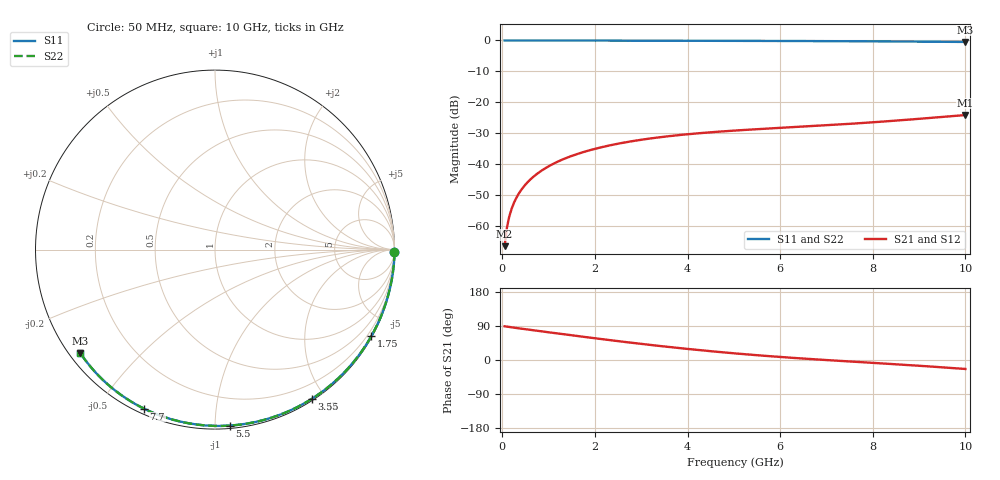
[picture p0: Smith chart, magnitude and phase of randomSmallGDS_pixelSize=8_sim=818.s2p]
! freq	dB(S11)	phase(S11)	dB(S12)	phase(S12)
!  dB(S21)	phase(S21)	dB(S22)	phase(S22)
!S-par simulation data
#  GHz  S  DB  R 50
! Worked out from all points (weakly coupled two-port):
!   200 points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, 50 MHz to 10 GHz, reference 50 ohm
!   highest |S21| = -24.05 dB at 10 GHz (marker M1); lowest = -66.4 dB at 50 MHz (marker M2)
!   lowest |S11| = -0.5 dB at 10 GHz (marker M3), VSWR 36.26, Z = 1.54 - j17 ohm
!   |S11| at or under -10 dB: nowhere
!   |S22| runs from -0.5 to 0.0 dB; largest |S21 - S12| = 0
!   S11 on the Smith chart (normalised r, x): 50 MHz: open; 1.75 GHz: 0.03, -3.88; 3.55 GHz: 0.02, -1.84; 5.5 GHz: 0.02, -1.09; 7.7 GHz: 0.02, -0.65; 10 GHz: 0.03, -0.34
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0.05  -0.00 -0.8  -66.35 89.0  -66.35 89.0  -0.00 -0.8
0.1  -0.00 -1.7  -60.34 88.1  -60.34 88.1  -0.00 -1.7
0.15  -0.00 -2.5  -56.83 87.1  -56.83 87.1  -0.00 -2.5
0.2  -0.00 -3.4  -54.35 86.2  -54.35 86.2  -0.00 -3.4
0.25  -0.00 -4.2  -52.43 85.4  -52.43 85.4  -0.00 -4.2
0.35  -0.00 -5.9  -49.54 83.7  -49.54 83.7  -0.00 -5.9
0.5  -0.01 -8.4  -46.48 81.3  -46.48 81.3  -0.01 -8.4
0.7  -0.01 -11.7  -43.61 78.0  -43.61 78.0  -0.01 -11.7
1  -0.02 -16.7  -40.59 73.2  -40.59 73.2  -0.02 -16.7
1.35  -0.03 -22.4  -38.10 67.6  -38.10 67.6  -0.03 -22.4
1.75  -0.04 -28.9  -36.00 61.2  -36.00 61.2  -0.04 -28.9
2.5  -0.05 -40.9  -33.30 49.8  -33.30 49.8  -0.05 -40.9
3.4  -0.07 -54.8  -31.22 37.0  -31.22 37.0  -0.07 -54.8
3.55  -0.08 -57.1  -30.95 35.0  -30.95 35.0  -0.08 -57.1
4.3  -0.10 -68.2  -29.86 25.6  -29.86 25.6  -0.10 -68.2
5.05  -0.12 -78.9  -29.03 17.2  -29.03 17.2  -0.12 -78.9
5.5  -0.14 -85.2  -28.62 12.6  -28.62 12.6  -0.14 -85.2
6.7  -0.20 -101.3  -27.61 2.2  -27.61 2.2  -0.20 -101.3
7.7  -0.26 -114.1  -26.70 -5.4  -26.70 -5.4  -0.26 -114.1
8.35  -0.31 -122.2  -26.02 -10.2  -26.02 -10.2  -0.31 -122.2
9.2  -0.39 -132.7  -25.04 -16.8  -25.04 -16.8  -0.39 -132.7
10  -0.48 -142.5  -24.05 -23.6  -24.05 -23.6  -0.48 -142.5
